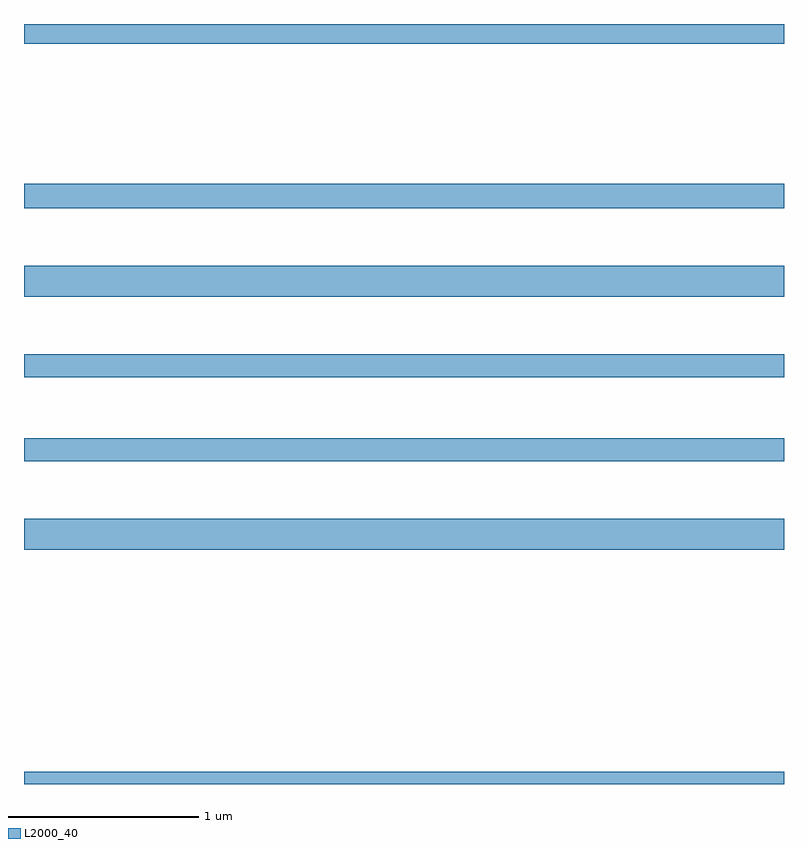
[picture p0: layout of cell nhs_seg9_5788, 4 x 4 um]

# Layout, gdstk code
import gdstk
lib = gdstk.Library(unit=1e-6, precision=1e-09)
def R(c, l, rs):  # rectangles x0, y0, x1, y1
    for r in rs: c.add(gdstk.rectangle(r[:2], r[2:], *l))
L2000_40 = (2000, 40)

nhs_seg9_5788 = lib.new_cell('nhs_seg9_5788')
R(nhs_seg9_5788, L2000_40, [(447,1216.5,451,1216.564), (447,1217.732,451,1217.896), (447,1218.198,451,1218.319), (447,1218.642,451,1218.763), (447,1219.064,451,1219.228), (447,1219.53,451,1219.658), (447,1220.396,451,1220.5)])

lib.write_gds('nhs_seg9_5788.gds')
